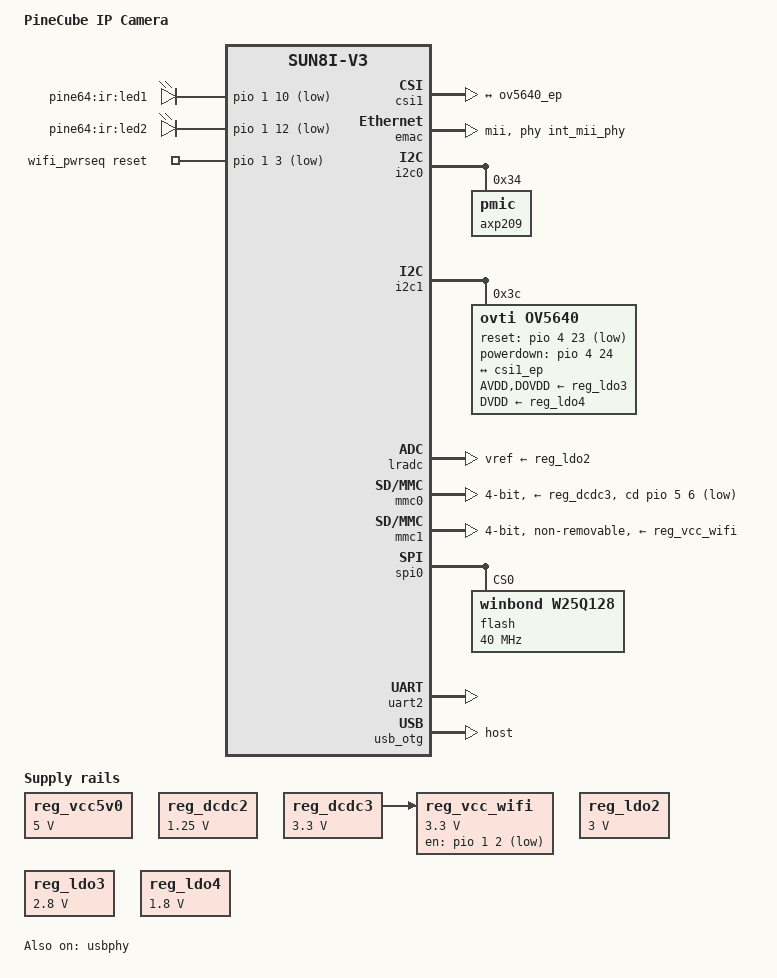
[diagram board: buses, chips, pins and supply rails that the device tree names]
// SPDX-License-Identifier: (GPL-2.0+ OR X11)
/*
 * Copyright 2019 Icenowy Zheng <icenowy@aosc.io>
 */

/dts-v1/;
#include "sun8i-v3.dtsi"
#include <dt-bindings/gpio/gpio.h>
#include <dt-bindings/input/input.h>

/ {
	model = "PineCube IP Camera";
	compatible = "pine64,pinecube", "sochip,s3", "allwinner,sun8i-v3";

	aliases {
		serial0 = &uart2;
	};

	chosen {
		stdout-path = "serial0:115200n8";
	};

	leds {
		compatible = "gpio-leds";

		led1 {
			label = "pine64:ir:led1";
			gpios = <&pio 1 10 GPIO_ACTIVE_LOW>; /* PB10 */
		};

		led2 {
			label = "pine64:ir:led2";
			gpios = <&pio 1 12 GPIO_ACTIVE_LOW>; /* PB12 */
		};
	};

	reg_vcc5v0: vcc5v0 {
		compatible = "regulator-fixed";
		regulator-name = "vcc5v0";
		regulator-min-microvolt = <5000000>;
		regulator-max-microvolt = <5000000>;
	};

	reg_vcc_wifi: vcc-wifi {
		compatible = "regulator-fixed";
		regulator-name = "vcc-wifi";
		regulator-min-microvolt = <3300000>;
		regulator-max-microvolt = <3300000>;
		gpio = <&pio 1 2 GPIO_ACTIVE_LOW>; /* PB2 WIFI-EN */
		vin-supply = <&reg_dcdc3>;
		startup-delay-us = <200000>;
	};

	wifi_pwrseq: wifi_pwrseq {
		compatible = "mmc-pwrseq-simple";
		reset-gpios = <&pio 1 3 GPIO_ACTIVE_LOW>; /* PB3 WIFI-RST */
		post-power-on-delay-ms = <200>;
	};
};

&csi1 {
	pinctrl-names = "default";
	pinctrl-0 = <&csi1_8bit_pins>;
	status = "okay";

	port {
		csi1_ep: endpoint {
			remote-endpoint = <&ov5640_ep>;
			bus-width = <8>;
			hsync-active = <1>; /* Active high */
			vsync-active = <0>; /* Active low */
			data-active = <1>;  /* Active high */
			pclk-sample = <1>;  /* Rising */
		};
	};
};

&emac {
	phy-handle = <&int_mii_phy>;
	phy-mode = "mii";
	status = "okay";
};

&i2c0 {
	status = "okay";

	axp209: pmic@34 {
		reg = <0x34>;
		interrupt-parent = <&nmi_intc>;
		interrupts = <0 IRQ_TYPE_LEVEL_LOW>;
	};
};

&i2c1 {
	pinctrl-names = "default";
	pinctrl-0 = <&i2c1_pe_pins>;
	status = "okay";

	ov5640: camera@3c {
		compatible = "ovti,ov5640";
		reg = <0x3c>;
		pinctrl-names = "default";
		pinctrl-0 = <&csi1_mclk_pin>;
		clocks = <&ccu CLK_CSI1_MCLK>;
		clock-names = "xclk";

		AVDD-supply = <&reg_ldo3>;
		DOVDD-supply = <&reg_ldo3>;
		DVDD-supply = <&reg_ldo4>;
		reset-gpios = <&pio 4 23 GPIO_ACTIVE_LOW>; /* PE23 */
		powerdown-gpios = <&pio 4 24 GPIO_ACTIVE_HIGH>; /* PE24 */

		port {
			ov5640_ep: endpoint {
				remote-endpoint = <&csi1_ep>;
				bus-width = <8>;
				hsync-active = <1>; /* Active high */
				vsync-active = <0>; /* Active low */
				data-active = <1>;  /* Active high */
				pclk-sample = <1>;  /* Rising */
			};
		};
	};
};

&lradc {
	vref-supply = <&reg_ldo2>;
	status = "okay";

	button-200 {
		label = "Setup";
		linux,code = <KEY_SETUP>;
		channel = <0>;
		voltage = <190000>;
	};
};

&mmc0 {
	vmmc-supply = <&reg_dcdc3>;
	bus-width = <4>;
	cd-gpios = <&pio 5 6 GPIO_ACTIVE_LOW>;
	status = "okay";
};

&mmc1 {
	vmmc-supply = <&reg_vcc_wifi>;
	vqmmc-supply = <&reg_dcdc3>;
	mmc-pwrseq = <&wifi_pwrseq>;
	bus-width = <4>;
	non-removable;
	status = "okay";
};

&pio {
	vcc-pd-supply = <&reg_dcdc3>;
	vcc-pe-supply = <&reg_ldo3>;
};

#include "axp209.dtsi"

&ac_power_supply {
	status = "okay";
};

&reg_dcdc2 {
	regulator-always-on;
	regulator-min-microvolt = <1250000>;
	regulator-max-microvolt = <1250000>;
	regulator-name = "vdd-sys-cpu-ephy";
};

&reg_dcdc3 {
	regulator-always-on;
	regulator-min-microvolt = <3300000>;
	regulator-max-microvolt = <3300000>;
	regulator-name = "vcc-3v3";
};

&reg_ldo1 {
	regulator-name = "vdd-rtc";
};

&reg_ldo2 {
	regulator-always-on;
	regulator-min-microvolt = <3000000>;
	regulator-max-microvolt = <3000000>;
	regulator-name = "avcc";
};

&reg_ldo3 {
	regulator-min-microvolt = <2800000>;
	regulator-max-microvolt = <2800000>;
	regulator-name = "avdd-dovdd-2v8-csi";
	regulator-soft-start;
	regulator-ramp-delay = <1600>;
};

&reg_ldo4 {
	regulator-min-microvolt = <1800000>;
	regulator-max-microvolt = <1800000>;
	regulator-name = "dvdd-1v8-csi";
};

&spi0 {
	status = "okay";

	flash@0 {
		#address-cells = <1>;
		#size-cells = <1>;
		compatible = "winbond,w25q128", "jedec,spi-nor";
		reg = <0>;
		spi-max-frequency = <40000000>;
	};
};

&uart2 {
	status = "okay";
};

&usb_otg {
	dr_mode = "host";
	status = "okay";
};

&usbphy {
	usb0_vbus-supply = <&reg_vcc5v0>;
	status = "okay";
};
